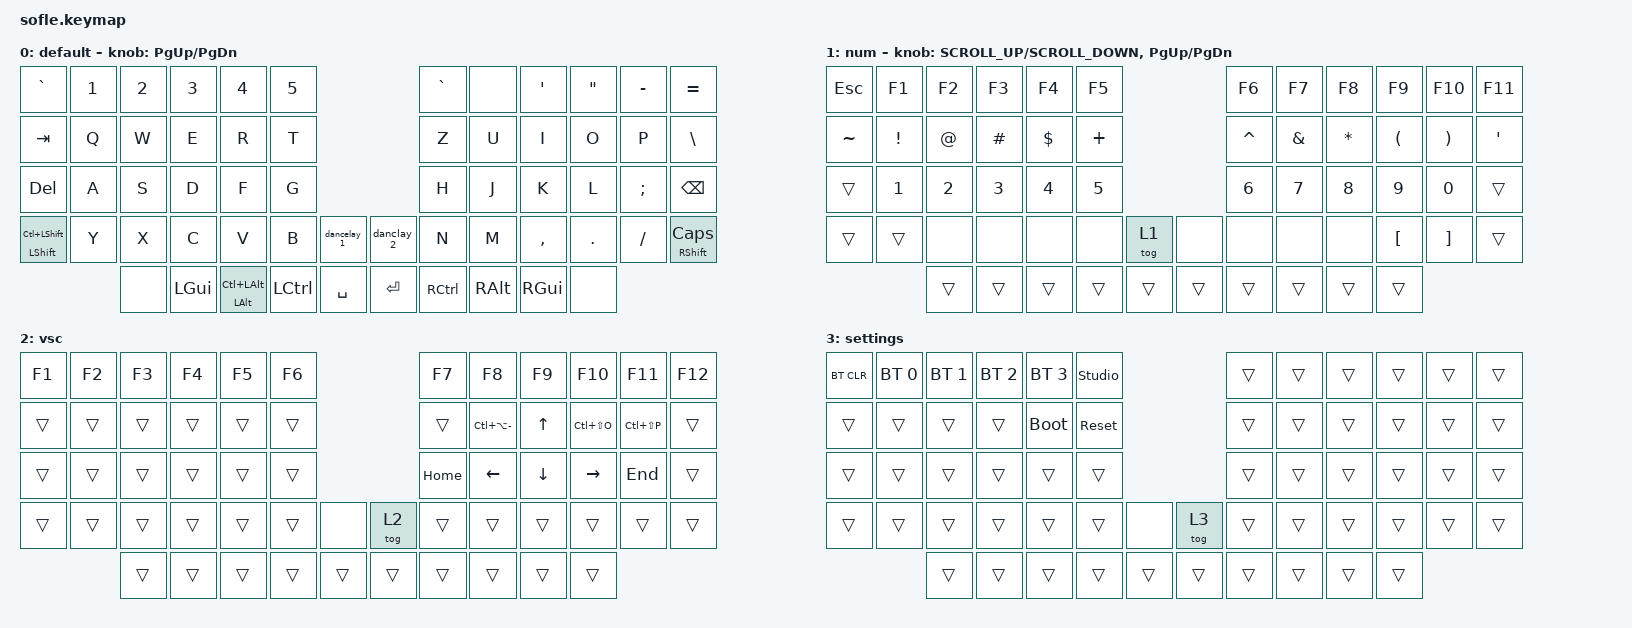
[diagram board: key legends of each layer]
/*
 * Copyright (c) 2020 The ZMK Contributors
 *
 * SPDX-License-Identifier: MIT
 */

#include <behaviors.dtsi>
#include <dt-bindings/zmk/bt.h>
#include <dt-bindings/zmk/keys.h>

#define BASE 0
#define LOWER 1
#define RAISE 2
#define ADJUST 3

/ {
    // Activate ADJUST layer by pressing raise and lower

    conditional_layers { compatible = "zmk,conditional-layers"; };

    behaviors {
        dancelay_1: dancelay_1 {
            compatible = "zmk,behavior-tap-dance";
            label = "DANCELAY_1";
            #binding-cells = <0>;
            bindings = <&mo 1>, <&sl 1>, <&tog 1>;

            tapping-term-ms = <300>;
        };

        hold_tapsk: hold_tapsk {
            compatible = "zmk,behavior-hold-tap";
            label = "HOLD_TAPSK";
            bindings = <&kp>, <&sk>;

            #binding-cells = <2>;
            tapping-term-ms = <300>;
        };

        danclay_2: danclay_2 {
            compatible = "zmk,behavior-tap-dance";
            label = "DANCLAY_2";
            #binding-cells = <0>;
            bindings = <&mo 2>, <&tog 2>, <&tog 3>;

            tapping-term-ms = <300>;
        };
    };

    keymap {
        compatible = "zmk,keymap";

        default_layer {
            label = "default";

            // ------------------------------------------------------------------------------------------------------------
            // |   `   |  1  |  2  |  3   |  4   |  5   |                   |  6   |  7    |  8    |  9   |   0   |       |
            // |  ESC  |  Q  |  W  |  E   |  R   |  T   |                   |  Y   |  U    |  I    |  O   |   P   | BKSPC |
            // |  TAB  |  A  |  S  |  D   |  F   |  G   |                   |  H   |  J    |  K    |  L   |   ;   |   '   |
            // | SHIFT |  Z  |  X  |  C   |  V   |  B   |  MUTE  |  |       |  N   |  M    |  ,    |  .   |   /   | SHIFT |
            //               | GUI | ALT  | CTRL | LOWER|  ENTER |  | SPACE | RAISE| CTRL  | ALT   | GUI  |

            bindings = <
&kp GRAVE                    &kp N1  &kp N2  &kp N3    &kp N4                         &kp N5                                &kp GRAVE  &none     &kp SQT    &kp DOUBLE_QUOTES  &kp MINUS  &kp EQUAL
&kp TAB                      &kp Q   &kp W   &kp E     &kp R                          &kp T                                 &kp Z      &kp U     &kp I      &kp O              &kp P      &kp BSLH
&kp DEL                      &kp A   &kp S   &kp D     &kp F                          &kp G                                 &kp H      &kp J     &kp K      &kp L              &kp SEMI   &kp BSPC
&hold_tapsk LSHFT LC(LSHFT)  &kp Y   &kp X   &kp C     &kp V                          &kp B      &dancelay_1    &danclay_2  &kp N      &kp M     &kp COMMA  &kp DOT            &kp FSLH   &hold_tapsk RSHFT CAPS
                                     &none   &kp LGUI  &hold_tapsk LALT LC(LEFT_ALT)  &kp LCTRL  &kp SPACE      &kp ENTER   &kp RCTRL  &kp RALT  &kp RGUI   &none
            >;

            sensor-bindings = <&inc_dec_kp PG_UP PAGE_DOWN>;
        };

        num-prog {
            label = "num";

            // TODO: Some binds are waiting for shifted keycode support.
            // ------------------------------------------------------------------------------------------------------------
            // |       |  F1 |  F2 |  F3  |  F4  |  F5  |                   |  F6  |  F7   |  F8   |  F9  |  F10  |  F11  |
            // |   `   |  1  |  2  |  3   |  4   |  5   |                   |  6   |  7    |  8    |  9   |   0   |  F12  |
            // |       |  !  |  @  |  #   |  $   |  %   |                   |  ^   |  &    |  *    |  (   |   )   |   |   |
            // |       |  =  |  -  |  +   |  {   |  }   |        |  |       |  [   |  ]    |  ;    |  :   |   \   |       |
            //               |     |      |      |      |        |  |       |      |       |       |      |

            bindings = <
&kp ESC    &kp F1           &kp F2  &kp F3    &kp F4      &kp F5                      &kp F6     &kp F7    &kp F8     &kp F9                &kp F10                &kp F11
&kp TILDE  &kp EXCLAMATION  &kp AT  &kp HASH  &kp DOLLAR  &kp PLUS                    &kp CARET  &kp AMPS  &kp ASTRK  &kp LEFT_PARENTHESIS  &kp RIGHT_PARENTHESIS  &kp APOS
&trans     &kp N1           &kp N2  &kp N3    &kp N4      &kp N5                      &kp N6     &kp N7    &kp N8     &kp N9                &kp N0                 &trans
&trans     &trans           &none   &none     &none       &none     &tog 1    &none   &none      &none     &none      &kp LBKT              &kp RBKT               &trans
                            &trans  &trans    &trans      &trans    &trans    &trans  &trans     &trans    &trans     &trans
            >;

            sensor-bindings =
                <&inc_dec_kp K_SCROLL_UP K_SCROLL_DOWN>,
                <&inc_dec_kp PG_UP PG_DN>;
        };

        vsc {
            bindings = <
&kp F1  &kp F2  &kp F3  &kp F4  &kp F5  &kp F6                    &kp F7    &kp F8             &kp F9          &kp F10          &kp F11        &kp F12
&trans  &trans  &trans  &trans  &trans  &trans                    &trans    &kp LC(LA(MINUS))  &kp UP_ARROW    &kp LC(LS(O))    &kp LC(LS(P))  &trans
&trans  &trans  &trans  &trans  &trans  &trans                    &kp HOME  &kp LEFT_ARROW     &kp DOWN_ARROW  &kp RIGHT_ARROW  &kp END        &trans
&trans  &trans  &trans  &trans  &trans  &trans  &none     &tog 2  &trans    &trans             &trans          &trans           &trans         &trans
                &trans  &trans  &trans  &trans  &trans    &trans  &trans    &trans             &trans          &trans
            >;

            label = "vsc";
        };

        bt-studio {
            bindings = <
&bt BT_CLR  &bt BT_SEL 0  &bt BT_SEL 1  &bt BT_SEL 2  &bt BT_SEL 3  &studio_unlock                    &trans  &trans  &trans  &trans  &trans  &trans
&trans      &trans        &trans        &trans        &bootloader   &sys_reset                        &trans  &trans  &trans  &trans  &trans  &trans
&trans      &trans        &trans        &trans        &trans        &trans                            &trans  &trans  &trans  &trans  &trans  &trans
&trans      &trans        &trans        &trans        &trans        &trans          &none     &tog 3  &trans  &trans  &trans  &trans  &trans  &trans
                          &trans        &trans        &trans        &trans          &trans    &trans  &trans  &trans  &trans  &trans
            >;

            label = "settings";
        };
    };
};
